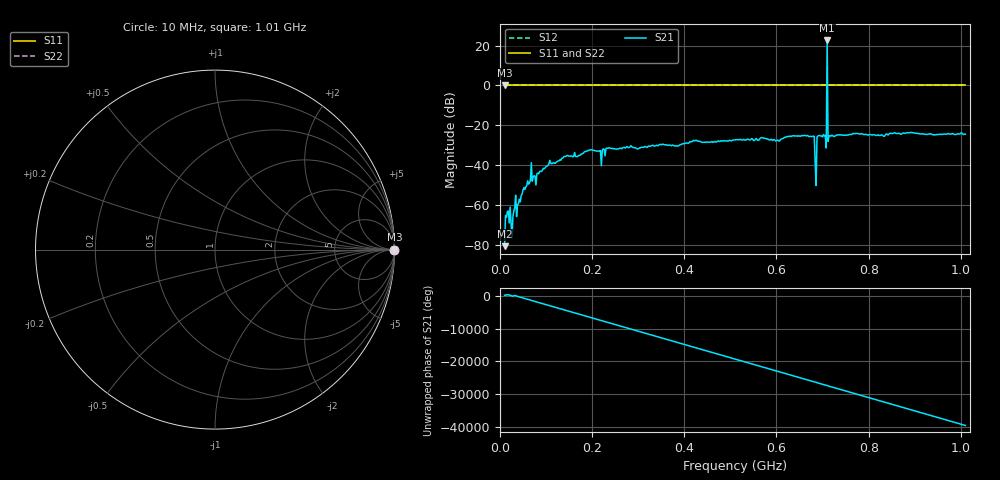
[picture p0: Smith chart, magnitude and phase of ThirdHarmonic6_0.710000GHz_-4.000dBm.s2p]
! 8/15/2025 11:43:23 PM
! C:\ANRITSUVNA\TEMP\TEMP.S2P
! CHANNEL.1
! TR.MEASUREMENT
! RAW.DATA
! RF.CORRECTION.OFF
! AVERAGING.OFF
! IF.BANDWIDTH: 5KHZ
! SWEEPTYPE:  FREQ.SWEEP(Linear)
! Reference Plane Port Info
! PORT:  PORT1  PORT2
! DISTANCE:  0  m  0  m
! TIME:  0  s  0  s
! PHASE.OFFSET:  0  deg.  0  deg.
! LOSS:  0  dB  0  dB
! REF.LOSS:  0  dB  0  dB
! REF.FREQ:  0  Hz  0  Hz
! Power Info
! POWER:  -20  dBm  -20  dBm
! EFF.POWER:  -20  dBm  -20  dBm
! SOURCE.ATTEN:  0  dB  0  dB
! TEST.ATTEN:  0  dB  0  dB
# GHZ S RI R 50.0
! FREQ.GHZ  S11RE  S11IM  S21RE  S21IM  S12RE  S12IM  S22RE  S22IM
!; PortSelection: Port_12
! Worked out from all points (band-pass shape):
!   501 points, 10 MHz to 1.01 GHz, reference 50 ohm
!   highest |S21| = 22.56 dB at 710 MHz (marker M1); lowest = -80.6 dB at 10 MHz (marker M2)
!   |S21| within 3 dB of the highest: 709.8888 MHz to 710.1185 MHz (229.6 kHz wide, 0.0323 % of centre)
!   lowest |S11| = 0.0 dB at 10 MHz (marker M3)
!   |S11| at or under -10 dB: nowhere
!   |S22| runs from 0.0 to 0.0 dB; largest |S21 - S12| = 14
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0.01  1 0  -1.5e-05 9.16e-05  1 0  1 0
0.016  1 0  0.000371 -0.000576  1 0  1 0
0.028  1 0  -0.000471 0.000188  1 0  1 0
0.034  1 0  0.00175 -0.000224  1 0  1 0
0.064  1 0  -0.00273 0.00233  1 0  1 0
0.072  1 0  -0.00494 0.000494  1 0  1 0
0.074  1 0  0.000774 0.00537  1 0  1 0
0.108  1 0  -0.0101 0.00851  1 0  1 0
0.178  1 0  -0.0186 -0.00448  1 0  1 0
0.344  1 0  0.0304 -0.00669  1 0  1 0
0.51  1 0  -0.0402 0.0157  1 0  1 0
0.678  1 0  -0.024 -0.0472  1 0  1 0
0.682  1 0  0.00588 0.0524  1 0  1 0
0.688  1 0  -0.0478 -0.019  1 0  1 0
0.692  1 0  0.0425 0.0354  1 0  1 0
0.704  1 0  0.00401 -0.0544  1 0  1 0
0.706  1 0  -0.0541 -0.0129  1 0  1 0
0.71  1 0  -4.576 12.63  1 0  1 0
0.714  1 0  -0.0335 -0.0419  1 0  1 0
0.716  1 0  -0.0476 0.0274  1 0  1 0
0.844  1 0  0.0415 0.0436  1 0  1 0
1.01  1 0  -0.0577 -0.0157  1 0  1 0
